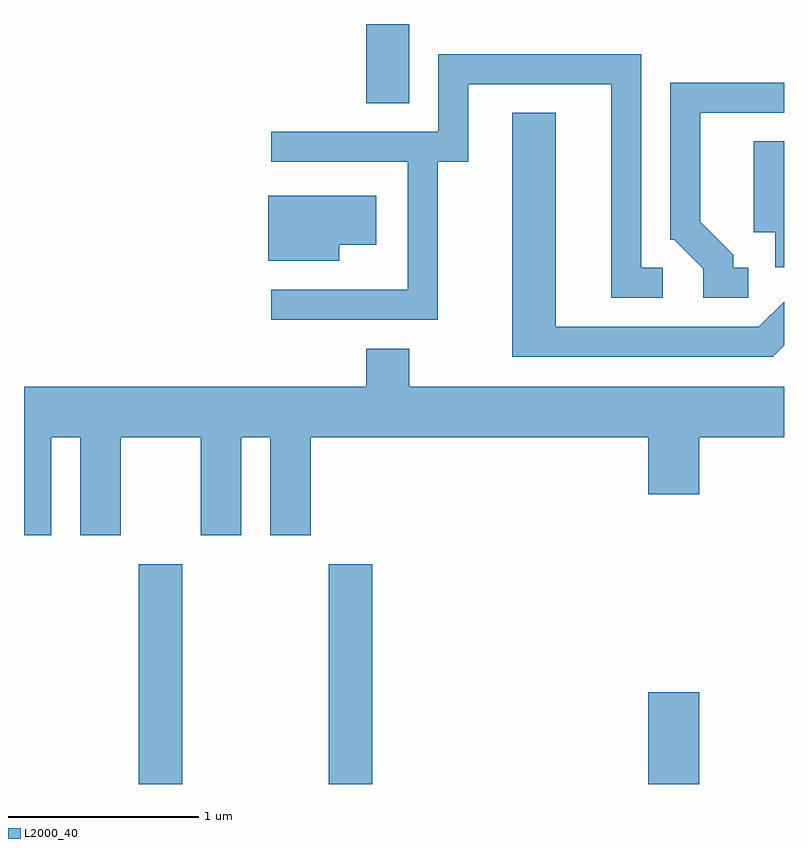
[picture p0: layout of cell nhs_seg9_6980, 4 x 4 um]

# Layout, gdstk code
import gdstk
lib = gdstk.Library(unit=1e-6, precision=1e-09)
def R(c, l, rs):  # rectangles x0, y0, x1, y1
    for r in rs: c.add(gdstk.rectangle(r[:2], r[2:], *l))
def P(c, l, *ps):  # polygons
    for p in ps: c.add(gdstk.Polygon(p, *l))
L2000_40 = (2000, 40)

nhs_seg9_6980 = lib.new_cell('nhs_seg9_6980')
R(nhs_seg9_6980, L2000_40, [(392.216,1994.432,392.444,1995.589), (393.216,1994.432,393.444,1995.589), (394.896,1994.432,395.164,1994.914), (393.411,1998.016,393.639,1998.432)])
P(nhs_seg9_6980, L2000_40, [(393.789,1997.706),(393.949,1997.706),(393.949,1998.116),(394.701,1998.116),(394.701,1996.991),(394.973,1996.991),(394.973,1997.149),(394.859,1997.149),(394.859,1998.274),(393.791,1998.274),(393.791,1997.864),(392.913,1997.864),(392.913,1997.706),(393.631,1997.706),(393.631,1997.034),(392.913,1997.034),(392.913,1996.876),(393.789,1996.876)],
  [(395.423,1997.149),(395.344,1997.149),(395.344,1997.217),(395.169,1997.392),(395.169,1997.966),(395.611,1997.966),(395.611,1998.124),(395.011,1998.124),(395.011,1997.296),(395.034,1997.296),(395.186,1997.144),(395.186,1996.991),(395.423,1996.991)],
  [(395.611,1996.74),(395.611,1996.971),(395.479,1996.839),(394.409,1996.839),(394.409,1997.964),(394.181,1997.964),(394.181,1996.681),(395.552,1996.681)],
  [(395.611,1997.814),(395.451,1997.814),(395.451,1997.336),(395.566,1997.336),(395.566,1997.151),(395.611,1997.151)],
  [(393.269,1997.271),(393.464,1997.271),(393.464,1997.529),(392.896,1997.529),(392.896,1997.186),(393.269,1997.186)],
  [(391.754,1996.256),(391.906,1996.256),(391.906,1995.741),(392.119,1995.741),(392.119,1996.256),(392.541,1996.256),(392.541,1995.741),(392.754,1995.741),(392.754,1996.256),(392.906,1996.256),(392.906,1995.741),(393.119,1995.741),(393.119,1996.256),(394.896,1996.256),(394.896,1995.956),(395.164,1995.956),(395.164,1996.256),(395.611,1996.256),(395.611,1996.524),(393.639,1996.524),(393.639,1996.724),(393.411,1996.724),(393.411,1996.524),(391.611,1996.524),(391.611,1995.741),(391.754,1995.741)])

lib.write_gds('nhs_seg9_6980.gds')
